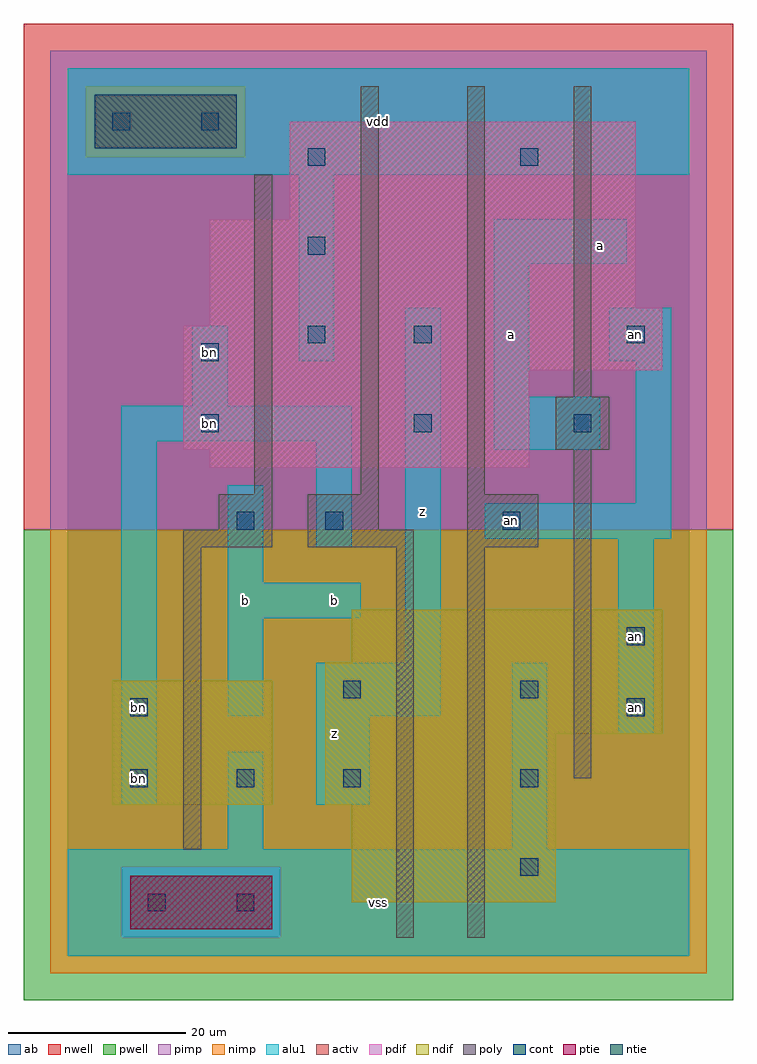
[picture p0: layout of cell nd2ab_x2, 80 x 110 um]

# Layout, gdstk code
import gdstk
lib = gdstk.Library(unit=1e-6, precision=1e-09)
def R(c, l, rs):  # rectangles x0, y0, x1, y1
    for r in rs: c.add(gdstk.rectangle(r[:2], r[2:], *l))
def A(c, l, x, y, w, h, nx, ny, dx, dy):  # array of equal rectangles
    R(c, l, [(x+i*dx, y+j*dy, x+i*dx+w, y+j*dy+h) for i in range(nx) for j in range(ny)])
ndif = (3, 0)
pdif = (4, 0)
ntie = (5, 0)
ptie = (6, 0)
cont = (25, 0)
pwell = (41, 0)
nwell = (42, 0)
activ = (43, 0)
pimp = (44, 0)
nimp = (45, 0)
poly = (46, 0)
alu1 = (49, 0)
ab = (63, 0)

nd2ab_x2 = lib.new_cell('nd2ab_x2')
R(nd2ab_x2, ndif, [(32,6,55,17), (5,17,23,31), (29,17,55,25), (29,25,67,33), (32,33,67,39)])
R(nd2ab_x2, pdif, [(16,55,52,57), (13,57,52,66), (13,66,67,71), (16,71,67,73), (16,73,64,83), (25,83,64,94)])
R(nd2ab_x2, ntie, [(3,91,19,97)])
R(nd2ab_x2, ptie, [(7,3,23,9)])
A(nd2ab_x2, cont, 51, 9, 2, 2, 1, 3, 0, 10)
A(nd2ab_x2, cont, 7, 19, 2, 2, 3, 1, 12, 0)
A(nd2ab_x2, cont, 27, 69, 2, 2, 1, 3, 0, 10)
R(nd2ab_x2, cont, [(9,5,11,7), (19,5,21,7), (7,27,9,29), (63,27,65,29), (31,29,33,31), (63,35,65,37), (19,48,21,50), (29,48,31,50), (49,48,51,50), (15,59,17,61), (39,59,41,61), (57,59,59,61), (15,67,17,69), (39,69,41,71), (63,69,65,71), (51,89,53,91), (5,93,7,95), (15,93,17,95)])
R(nd2ab_x2, pwell, [(-5,-5,75,48)])
R(nd2ab_x2, nwell, [(-5,48,75,105)])
R(nd2ab_x2, activ, [(7,3,23,9), (32,6,55,17), (5,17,23,31), (29,17,55,25), (29,25,67,33), (32,33,67,39), (16,55,52,57), (13,57,52,66), (13,66,67,71), (16,71,67,73), (16,73,64,83), (25,83,64,94), (3,91,19,97)])
R(nd2ab_x2, pimp, [(6,2,24,10), (-2,48,72,90), (-2,90,2,98), (20,90,72,98), (-2,98,72,102)])
R(nd2ab_x2, nimp, [(-2,-2,72,2), (-2,2,6,10), (24,2,72,10), (-2,10,72,48), (2,90,20,98)])
R(nd2ab_x2, poly, [(37,2,39,46), (45,2,47,46), (13,12,15,46), (57,20,59,57), (13,46,23,48), (27,46,39,48), (45,46,53,52), (17,48,23,52), (27,48,35,52), (21,52,23,88), (33,52,35,98), (45,52,47,98), (55,57,61,63), (57,63,59,98)])
A(nd2ab_x2, alu1, 18, 12, 4, 11, 1, 3, 0, 15)
R(nd2ab_x2, alu1, [(0,0,70,12), (50,12,54,33), (6,17,10,58), (28,17,34,27), (62,25,66,47), (28,27,42,33), (38,33,42,73), (18,38,33,42), (28,46,32,58), (47,47,68,51), (64,51,68,67), (48,57,60,63), (6,58,32,62), (14,62,18,71), (48,63,52,78), (26,67,30,88), (61,67,68,73), (48,78,63,83), (0,88,70,100)])
R(nd2ab_x2, ab, [(0,0,70,100)])
nd2ab_x2.add(gdstk.Label('bn', (8,20), layer=49, texttype=0))
nd2ab_x2.add(gdstk.Label('bn', (8,28), layer=49, texttype=0))
nd2ab_x2.add(gdstk.Label('bn', (16,68), layer=49, texttype=0))
nd2ab_x2.add(gdstk.Label('bn', (16,60), layer=49, texttype=0))
nd2ab_x2.add(gdstk.Label('an', (64,28), layer=49, texttype=0))
nd2ab_x2.add(gdstk.Label('an', (64,36), layer=49, texttype=0))
nd2ab_x2.add(gdstk.Label('an', (50,49), layer=49, texttype=0))
nd2ab_x2.add(gdstk.Label('an', (64,70), layer=49, texttype=0))
nd2ab_x2.add(gdstk.Label('z', (30,25), layer=49, texttype=0))
nd2ab_x2.add(gdstk.Label('b', (20,40), layer=49, texttype=0))
nd2ab_x2.add(gdstk.Label('b', (30,40), layer=49, texttype=0))
nd2ab_x2.add(gdstk.Label('vss', (35,6), layer=49, texttype=0))
nd2ab_x2.add(gdstk.Label('z', (40,50), layer=49, texttype=0))
nd2ab_x2.add(gdstk.Label('a', (50,70), layer=49, texttype=0))
nd2ab_x2.add(gdstk.Label('vdd', (35,94), layer=49, texttype=0))
nd2ab_x2.add(gdstk.Label('a', (60,80), layer=49, texttype=0))

lib.write_gds('nd2ab_x2.gds')
